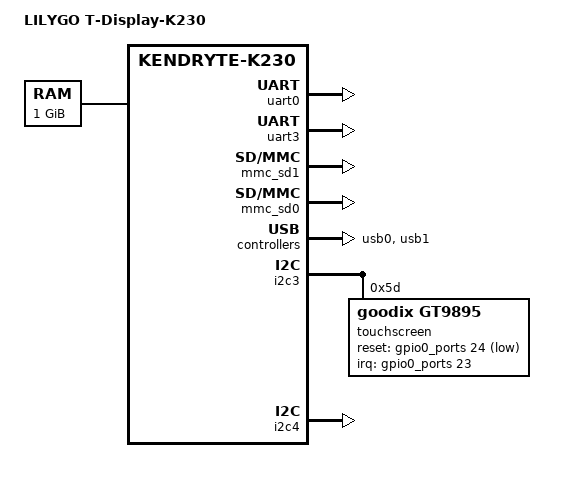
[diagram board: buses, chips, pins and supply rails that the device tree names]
// SPDX-License-Identifier: GPL-2.0 OR MIT
// LILYGO T-Display-K230.
//
// Derived from canaan/k230-canmv-v3-lcd.dts, which is the reference this
// board is a variant of -- U-Boot on our hardware prints
// "Model: kendryte k230 canmv v3.0". Every divergence from that reference
// is marked DIVERGENCE below and listed in
// docs/evidence/dts-divergence.md.
//
// UNVERIFIED: this has never been booted.

/dts-v1/;

#include "k230.dtsi"
#include "display-rm69a10-568x1232.dtsi"

/ {
	model = "LILYGO T-Display-K230";
	compatible = "lilygo,t-display-k230", "canaan,canmv-k230", "canaan,kendryte-k230";

	aliases {
		serial3 = &uart3;
		// DIVERGENCE (naming only): on this board mmc0 carries the
		// RTL8189FTV over SDIO and mmc1 carries the TF card. The
		// reference names them the same way; recorded because
		// docs/findings.md originally had them swapped.
		mmc0 = &mmc_sd0;
		mmc1 = &mmc_sd1;
		i2c0 = &i2c4;
		i2c1 = &i2c3;
	};

	chosen {
		// Linux console. Note U-Boot's own console is ttyS1 per the
		// SDK environment; the two legitimately differ.
		stdout-path = "serial0:115200n8";
	};

	ddr: memory@0 {
		device_type = "memory";
		reg = <0x0 0x0 0x0 0x40000000>;
	};

	// DIVERGENCE: stage 1 scans this XRGB buffer until Linux owns the panel.
	// The values come from nix/boot-splash.nix through device-tree.nix's
	// preprocessor definitions, shared with U-Boot's Kconfig fragment.
	reserved-memory {
		#address-cells = <2>;
		#size-cells = <2>;
		ranges;

		splash_framebuffer: framebuffer@K230_SPLASH_FRAMEBUFFER_UNIT_ADDRESS {
			reg = <0x0 K230_SPLASH_FRAMEBUFFER_ADDRESS
			       0x0 K230_SPLASH_FRAMEBUFFER_SIZE>;
			no-map;
		};
	};

	sound {
		status                      = "okay";
		compatible                  = "canaan,k230-audio-inno";
		canaan,model                = "K230_I2S_INNO";
		canaan,k230-i2s-controller  = <&i2s>;
		canaan,k230-audio-codec     = <&inno_codec>;
	};
};

&uart0 {
	status = "okay";
};

&uart3 {
	status = "okay";
};

// The TF card.
&mmc_sd1 {
	status = "okay";
	no-1-8-v;
	cap-sd-highspeed;
	mshc_ctrl_r = <0x00>;
};

// The RTL8189FTV, over SDIO.
&mmc_sd0 {
	status = "okay";
	no-1-8-v;
	rx_delay_line = <0x0d>;
	tx_delay_line = <0xc0>;
};

&usb0 {
	status = "okay";
};

&usb1 {
	status = "okay";
};

&i2c3 {
	status = "okay";

	// DIVERGENCE: the reference fits an edt,edt-ft5306 at 0x38. This
	// board has a Goodix GT9895 at 0x5d -- a Berlin-generation part,
	// which the pinned 6.6 tree does not support. The driver arrives as
	// a backport in this change; without it this node simply does not
	// probe and the panel still works.
	//
	// The GPIOs are the same as the reference's touch controller:
	// RST on 24, INT on 23. Confirmed against the schematic.
	//
	// Two compatibles, most-specific first, which is how a fallback is
	// meant to be written. The part really is a GT9895, and that string
	// is what a driver gaining real GT9895 support would match on. But
	// the backported goodix_berlin matches ONLY "goodix,gt9916" --
	// nix/patches/goodix-berlin/goodix_berlin_i2c.c:57 -- so with the
	// specific string alone nothing binds and the experiment task 4.1
	// asks for cannot even run. The fallback lets the Berlin driver
	// attach while the device tree keeps telling the truth about the
	// silicon.
	//
	// It is close enough: the backport binds, reads the firmware version
	// and the IC-info blob without error, and derives touch_data_addr
	// from the part at runtime. See docs/evidence/gt9895-port.md.
	touchscreen@5d {
		compatible = "goodix,gt9895", "goodix,gt9916";
		reg = <0x5d>;
		reset-gpios = <&gpio0_ports 24 GPIO_ACTIVE_LOW>;
		interrupt-parent = <&gpio0_ports>;

		// LEVEL_LOW, not EDGE_FALLING.
		//
		// EDGE_FALLING was inherited from the reference board's
		// edt-ft5306 (k230-canmv-v3-lcd.dts:66), a different part,
		// and it is why touch bound but reported nothing: four
		// interrupts on IRQ 87 since boot and then silence, with a
		// live controller answering i2c. A Goodix Berlin part holds
		// INT asserted low until the host clears the status byte at
		// touch_data_addr; goodix_berlin_irq() returns early WITHOUT
		// clearing whenever it reads status == 0
		// (nix/patches/goodix-berlin/goodix_berlin_core.c:566), so
		// one such early return leaves the line low forever and an
		// edge detector never sees another falling edge. A level
		// detector re-asserts immediately and the handler clears it.
		//
		// caveman99/k230-linux runs this same backported driver on
		// this same 6.6.36 tree on this same board with
		// IRQ_TYPE_LEVEL_LOW and reports working multitouch; its
		// /proc/interrupts line reads "gpio-k230 23 Level
		// goodix-berlin" where ours reads "Edge". gpio-k230 supports
		// both (drivers/gpio/gpio-k230.c:333).
		interrupts = <23 IRQ_TYPE_LEVEL_LOW>;

		// The digitizer grid, not the panel. goodix_berlin declares
		// ABS_MT_POSITION_X/Y max = SZ_64K-1 and then lets
		// touchscreen_parse_properties() override it
		// (goodix_berlin_core.c:621-627); with nothing to read, every
		// touch lands in the top-left 1% of any client that scales by
		// the declared range.
		//
		// 1024 x 2400 has two independent sources: LILYGO's own
		// RT-Smart driver, which divides raw coordinates by exactly
		// these constants
		// (repo/canmv_k230/src/rtsmart/rtsmart/kernel/bsp/maix3/drivers/extdrv/touch/gt9895.c:44-45),
		// and caveman99's Linux port. The panel is 568x1232, so the
		// sensor grid is roughly 1.8x the pixel grid in both axes --
		// same orientation, hence no swapped-x-y or inverted-* here.
		touchscreen-size-x = <1024>;
		touchscreen-size-y = <2400>;
	};
};

&i2c4 {
	status = "okay";
};

&mipi0 {
	// set to csi2
	id = <2>;
	reg = <0x0 0x9000a800 0x0 0x800>;
	interrupts = <121 IRQ_TYPE_LEVEL_HIGH>;
	resets = <&sysctl_reset K230_RESET_CSI2_REG_OFFSET K230_RESET_CSI2_TYPE
			  K230_RESET_CSI2_DONE_BIT K230_RESET_CSI2_ASSERT_BIT>,
	<&sysctl_reset K230_RESET_M2_REG_OFFSET K230_RESET_M2_TYPE
		 K230_RESET_M2_DONE_BIT K230_RESET_M2_ASSERT_BIT>;
};

// Reset and backlight for the panel. `lcd` is the label on the panel node
// in display-rm69a10-568x1232.dtsi; the panel dtsi deliberately carries no
// GPIOs of its own, matching how the reference splits panel from board.
//
// GPIO22 reset is ACTIVE_HIGH and GPIO25 is the backlight -- both taken
// from k230-canmv-v3-lcd.dts, and both were unestablished before that.
&lcd {
	dsi_reset-gpios = <&gpio0_ports 22 GPIO_ACTIVE_HIGH>;
	backlight_gpio-gpios = <&gpio0_ports 25 GPIO_ACTIVE_HIGH>;
};
